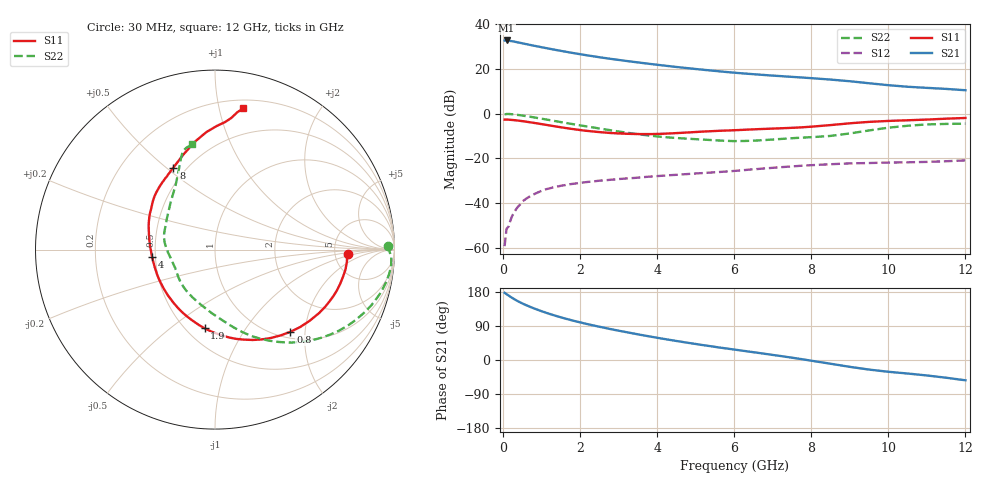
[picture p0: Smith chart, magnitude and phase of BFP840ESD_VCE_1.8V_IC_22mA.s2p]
! Infineon Technologies  Discrete & RF Semiconductors
! BFP840ESD
! VCE =  1.8 V,  IC =  22 mA
! Common Emitter S-Parameters:  May 2012
# GHz  S  MA  R  50
!  f  S11  S21  S12  S22
! GHz  MAG  ANG  MAG  ANG  MAG  ANG  MAG  ANG
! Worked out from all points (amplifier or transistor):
!   93 points, 30 MHz to 12 GHz, reference 50 ohm
!   highest |S21| = 32.7 dB at 80 MHz (marker M1)
!   |S21| within 3 dB of that: start of sweep to 984.6 MHz
!   unconditionally stable (mu >= 1): 4.794 GHz to 8.123 GHz
!   at 1.1 GHz: K = 0.42, MSG = 31.5 dB, |S12| = -33.8 dB
!   at 4.2 GHz: K = 0.96, MSG = 24.5 dB, |S12| = -27.6 dB
!   at 12 GHz: K = 0.74, MSG = 15.7 dB, |S12| = -20.9 dB
!   S11 on the Smith chart (normalised r, x): 30 MHz: 6.58, -0.67; 800 MHz: 1.12, -1.68; 1.9 GHz: 0.61, -0.67; 4 GHz: 0.48, -0.04; 8 GHz: 0.43, +0.53; 12 GHz: 0.27, +1.18
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0.03  0.7386 -1.8  43.06 177.3  0.0011 80.3  0.962 1.3
0.08  0.7378 -5.4  43.17 173.8  0.0027 72.9  0.9829 -2.4
0.23  0.7234 -15.1  41.41 163.7  0.0053 77.8  0.9702 -10.8
0.38  0.7002 -24.3  39.01 154.9  0.0084 74.3  0.9362 -17.6
0.6  0.6603 -36.8  35.63 144.2  0.0128 70.0  0.8785 -26.3
0.8  0.6215 -47.5  32.86 135.9  0.016 64.6  0.8242 -33.3
1  0.5829 -57.6  30.37 128.4  0.0191 60.0  0.7702 -39.6
1.3  0.5282 -71.8  27.11 118.4  0.0227 54.7  0.6934 -48.0
1.6  0.4808 -85.0  24.34 109.5  0.0254 50.3  0.6251 -55.4
1.9  0.4419 -97.6  21.95 101.6  0.0278 46.8  0.5652 -62.0
2.1  0.4197 -105.6  20.57 96.6  0.0293 44.5  0.5302 -66.2
2.5  0.3876 -121.0  18.2 87.6  0.032 42.0  0.4659 -73.8
2.9  0.3661 -135.7  16.26 79.2  0.034 40.0  0.4113 -81.4
3.5  0.3511 -156.9  13.93 67.6  0.0374 37.3  0.348 -94.5
4  0.3532 -173.7  12.35 58.6  0.0404 35.7  0.3103 -106.9
4.1  0.355 -176.8  12.06 56.8  0.041 35.4  0.3046 -109.6
5.2  0.3991 157.5  9.548 39.0  0.0473 31.5  0.2635 -136.7
6.1  0.4307 144.5  8.093 26.1  0.0536 29.0  0.2451 -157.7
8  0.5125 116.9  6.212 -1.9  0.0708 17.2  0.2988 160.7
8.5  0.5568 108.6  5.773 -9.9  0.0744 13.0  0.3188 147.3
10.5  0.7127 85.5  3.992 -35.7  0.0821 -2.2  0.5374 110.8
12  0.8019 78.8  3.34 -53.6  0.0905 -9.9  0.5991 102.2
